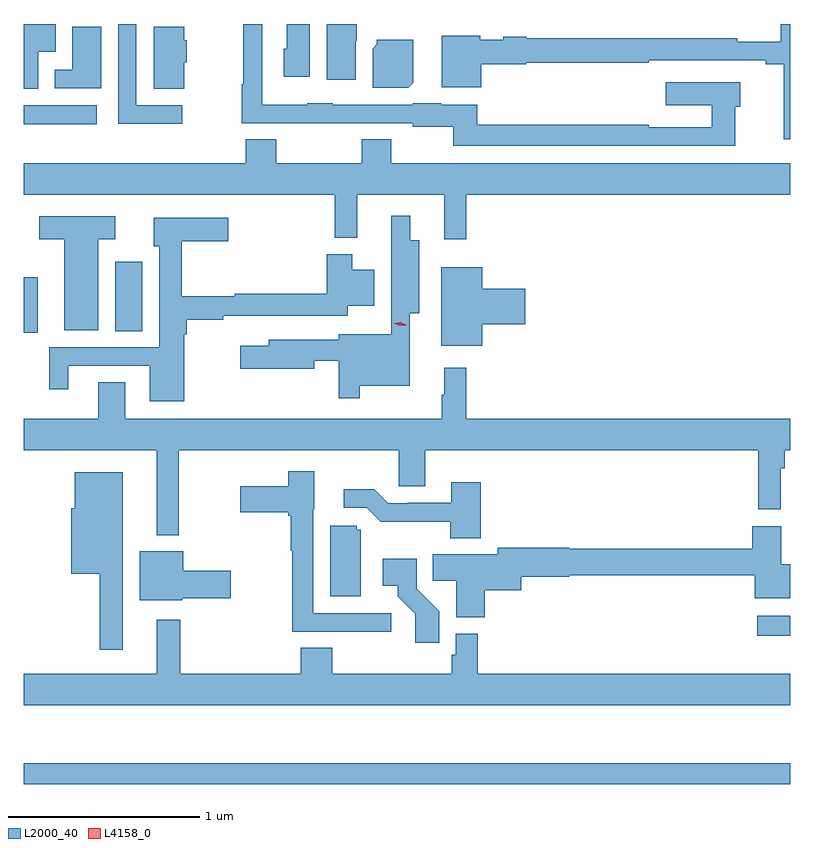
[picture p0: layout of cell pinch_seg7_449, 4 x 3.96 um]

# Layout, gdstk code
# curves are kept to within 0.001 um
import gdstk
lib = gdstk.Library(unit=1e-6, precision=1e-09)
def R(c, l, rs):  # rectangles x0, y0, x1, y1
    for r in rs: c.add(gdstk.rectangle(r[:2], r[2:], *l))
def P(c, l, *ps):  # polygons
    for p in ps: c.add(gdstk.Polygon(p, *l))
L2000_40 = (2000, 40)
L4158_0 = (4158, 0)

pinch_seg7_449 = lib.new_cell('pinch_seg7_449')
R(pinch_seg7_449, L2000_40, [(338.699,1053.486,342.699,1053.595), (342.525,1054.259,342.699,1054.363), (338.699,1055.84,338.773,1056.13), (339.176,1055.848,339.319,1056.211), (338.699,1056.926,339.082,1057.027)])
P(pinch_seg7_449, L2000_40, [(339.526,1057.026),(339.288,1057.026),(339.288,1057.45),(339.192,1057.45),(339.192,1056.929),(339.526,1056.929)],
  [(338.776,1057.304),(338.866,1057.304),(338.866,1057.45),(338.699,1057.45),(338.699,1057.112),(338.776,1057.112)],
  [(340.192,1057.45),(340.073,1057.45),(340.073,1057.32),(340.055,1057.32),(340.055,1057.176),(340.192,1057.176)],
  [(340.432,1057.362),(340.436,1057.362),(340.436,1057.45),(340.28,1057.45),(340.28,1057.158),(340.432,1057.158)],
  [(342.699,1057.45),(342.648,1057.45),(342.648,1057.357),(342.422,1057.357),(342.422,1057.376),(341.322,1057.376),(341.322,1057.384),(341.202,1057.384),(341.202,1057.369),(341.082,1057.369),(341.082,1057.39),(340.88,1057.39),(340.88,1057.121),(341.086,1057.121),(341.086,1057.24),(341.322,1057.24),(341.322,1057.248),(341.96,1057.248),(341.96,1057.26),(342.569,1057.26),(342.569,1057.24),(342.665,1057.24),(342.665,1056.849),(342.699,1056.849)],
  [(342.41,1057.018),(342.436,1057.018),(342.436,1057.147),(342.048,1057.147),(342.048,1057.025),(342.289,1057.025),(342.289,1056.912),(341.96,1056.912),(341.96,1056.925),(341.065,1056.925),(341.065,1057.03),(340.878,1057.03),(340.878,1057.036),(340.728,1057.036),(340.728,1057.029),(340.311,1057.029),(340.311,1057.036),(340.179,1057.036),(340.179,1057.03),(339.945,1057.03),(339.945,1057.45),(339.844,1057.45),(339.844,1057.136),(339.837,1057.136),(339.837,1056.933),(340.079,1056.933),(340.079,1056.932),(340.311,1056.932),(340.311,1056.933),(340.728,1056.933),(340.728,1056.914),(340.941,1056.914),(340.941,1056.816),(342.41,1056.816)],
  [(339.538,1057.251),(339.55,1057.251),(339.55,1057.365),(339.538,1057.365),(339.538,1057.436),(339.377,1057.436),(339.377,1057.111),(339.538,1057.111)],
  [(339.103,1057.436),(338.954,1057.436),(338.954,1057.212),(338.861,1057.212),(338.861,1057.116),(339.103,1057.116)],
  [(340.732,1057.144),(340.732,1057.369),(340.542,1057.369),(340.542,1057.344),(340.52,1057.322),(340.52,1057.118),(340.706,1057.118)],
  [(341.009,1056.56),(342.699,1056.56),(342.699,1056.724),(340.617,1056.724),(340.617,1056.848),(340.462,1056.848),(340.462,1056.724),(340.017,1056.724),(340.017,1056.848),(339.857,1056.848),(339.857,1056.724),(338.699,1056.724),(338.699,1056.56),(340.321,1056.56),(340.321,1056.335),(340.439,1056.335),(340.439,1056.56),(340.892,1056.56),(340.892,1056.327),(341.009,1056.327)],
  [(340.453,1055.564),(340.714,1055.564),(340.714,1055.942),(340.762,1055.942),(340.762,1056.322),(340.715,1056.322),(340.715,1056.451),(340.617,1056.451),(340.617,1056.165),(340.616,1056.165),(340.616,1055.833),(340.343,1055.833),(340.343,1055.802),(339.977,1055.802),(339.977,1055.773),(339.828,1055.773),(339.828,1055.651),(340.216,1055.651),(340.216,1055.694),(340.344,1055.694),(340.344,1055.499),(340.453,1055.499)],
  [(339.088,1056.326),(339.178,1056.326),(339.178,1056.448),(338.781,1056.448),(338.781,1056.326),(338.912,1056.326),(338.912,1055.852),(339.088,1055.852)],
  [(339.538,1055.831),(339.551,1055.831),(339.551,1055.908),(339.74,1055.908),(339.74,1055.928),(340.389,1055.928),(340.389,1055.981),(340.528,1055.981),(340.528,1056.169),(340.414,1056.169),(340.414,1056.25),(340.28,1056.25),(340.28,1056.044),(339.801,1056.044),(339.801,1056.029),(339.524,1056.029),(339.524,1056.317),(339.766,1056.317),(339.766,1056.439),(339.377,1056.439),(339.377,1056.291),(339.408,1056.291),(339.408,1055.763),(338.834,1055.763),(338.834,1055.544),(338.932,1055.544),(338.932,1055.667),(339.356,1055.667),(339.356,1055.483),(339.538,1055.483)],
  [(341.092,1055.885),(341.317,1055.885),(341.317,1056.068),(341.092,1056.068),(341.092,1056.181),(340.877,1056.181),(340.877,1055.771),(341.092,1055.771)],
  [(339.509,1055.228),(340.656,1055.228),(340.656,1055.038),(340.795,1055.038),(340.795,1055.228),(342.532,1055.228),(342.532,1054.92),(342.648,1054.92),(342.648,1055.132),(342.668,1055.132),(342.668,1055.228),(342.699,1055.228),(342.699,1055.392),(341.009,1055.392),(341.009,1055.656),(340.892,1055.656),(340.892,1055.516),(340.881,1055.516),(340.881,1055.392),(339.229,1055.392),(339.229,1055.582),(339.089,1055.582),(339.089,1055.392),(338.699,1055.392),(338.699,1055.228),(339.395,1055.228),(339.395,1054.784),(339.509,1054.784)],
  [(340.618,1054.377),(340.209,1054.377),(340.209,1054.92),(340.216,1054.92),(340.216,1055.116),(340.08,1055.116),(340.08,1055.038),(339.828,1055.038),(339.828,1054.904),(340.08,1054.904),(340.08,1054.886),(340.093,1054.886),(340.093,1054.702),(340.101,1054.702),(340.101,1054.281),(340.393,1054.281),(340.393,1054.279),(340.618,1054.279)],
  [(339.217,1055.113),(338.966,1055.113),(338.966,1054.923),(338.948,1054.923),(338.948,1054.583),(339.096,1054.583),(339.096,1054.185),(339.217,1054.185)],
  [(341.084,1055.059),(340.931,1055.059),(340.931,1054.953),(340.702,1054.953),(340.702,1054.95),(340.602,1054.95),(340.529,1055.023),(340.368,1055.023),(340.368,1054.926),(340.488,1054.926),(340.561,1054.853),(340.924,1054.854),(340.924,1054.769),(341.084,1054.769)],
  [(340.459,1054.812),(340.437,1054.812),(340.437,1054.833),(340.298,1054.833),(340.298,1054.464),(340.459,1054.464)],
  [(341.105,1054.496),(341.296,1054.496),(341.296,1054.568),(341.544,1054.568),(341.544,1054.576),(342.512,1054.576),(342.512,1054.454),(342.699,1054.454),(342.699,1054.633),(342.652,1054.633),(342.652,1054.831),(342.5,1054.831),(342.5,1054.712),(341.544,1054.712),(341.544,1054.718),(341.172,1054.718),(341.172,1054.684),(340.834,1054.684),(340.834,1054.546),(340.955,1054.546),(340.955,1054.355),(341.105,1054.355)],
  [(339.528,1054.456),(339.781,1054.456),(339.781,1054.598),(339.532,1054.598),(339.532,1054.699),(339.305,1054.699),(339.305,1054.445),(339.528,1054.445)],
  [(340.868,1054.386),(340.749,1054.505),(340.749,1054.66),(340.572,1054.66),(340.572,1054.52),(340.652,1054.52),(340.652,1054.465),(340.743,1054.375),(340.743,1054.224),(340.868,1054.224)],
  [(342.699,1054.06),(341.069,1054.06),(341.069,1054.27),(340.953,1054.27),(340.953,1054.161),(340.933,1054.161),(340.933,1054.06),(340.31,1054.06),(340.31,1054.196),(340.145,1054.196),(340.145,1054.06),(339.517,1054.06),(339.517,1054.342),(339.395,1054.342),(339.395,1054.06),(338.699,1054.06),(338.699,1053.896),(342.699,1053.896)])
P(pinch_seg7_449, L4158_0, [(340.662,1055.875),(340.63,1055.89),(340.63,1055.89),(340.63,1055.89),(340.665,1055.894),(340.697,1055.88),(340.697,1055.879),(340.697,1055.879)])

lib.write_gds('pinch_seg7_449.gds')
